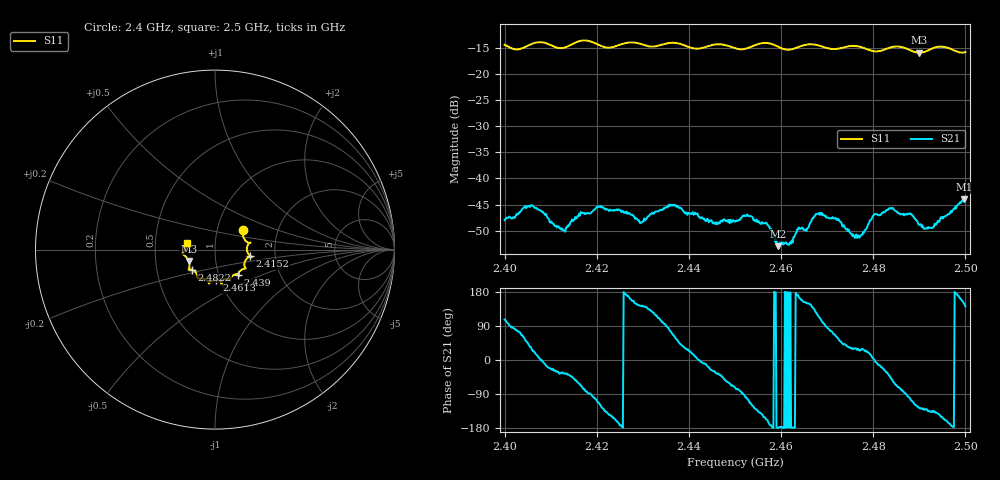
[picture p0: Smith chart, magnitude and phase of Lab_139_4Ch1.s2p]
# Hz S RI R 50
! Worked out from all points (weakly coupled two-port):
!   601 points, 2.4 GHz to 2.5 GHz, reference 50 ohm
!   highest |S21| = -43.98 dB at 2.4997 GHz (marker M1); lowest = -53.0 dB at 2.4593 GHz (marker M2)
!   lowest |S11| = -15.9 dB at 2.49 GHz (marker M3), VSWR 1.38, Z = 36.9 - j4.84 ohm
!   |S11| at or under -10 dB: start of sweep to end of sweep
!   S12 and S22 are empty: the file has one direction only
!   S11 on the Smith chart (normalised r, x): 2.4 GHz: 1.33, +0.31; 2.4152 GHz: 1.48, -0.11; 2.439 GHz: 1.24, -0.36; 2.4613 GHz: 0.96, -0.34; 2.4822 GHz: 0.76, -0.17; 2.5 GHz: 0.72, +0.05
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2.4e9  0.1553 0.1114  -0.00114 0.00381  0 0  0 0
2.405667e9  0.1889 0.0376  0.00451 0.00312  0 0  0 0
2.412667e9  0.1778 -0.00434  0.00265 -0.00188  0 0  0 0
2.415167e9  0.1952 -0.0359  0.00257 -0.0031  0 0  0 0
2.416667e9  0.2049 -0.042  0.00174 -0.00434  0 0  0 0
2.420833e9  0.1807 -0.0473  -0.00276 -0.00471  0 0  0 0
2.429667e9  0.1618 -0.107  -0.00305 0.00228  0 0  0 0
2.433333e9  0.1323 -0.1325  -0.00169 0.00455  0 0  0 0
2.439e9  0.1278 -0.1388  0.00396 0.00258  0 0  0 0
2.45e9  0.0689 -0.1632  0.00117 -0.00366  0 0  0 0
2.456667e9  0.0397 -0.1951  -0.00341 -0.00154  0 0  0 0
2.459333e9  0.0317 -0.1802  -0.00224 -6.4e-06  0 0  0 0
2.461333e9  0.00753 -0.1711  -0.00234 -5.69e-05  0 0  0 0
2.466667e9  -0.0338 -0.1903  -0.0031 0.00255  0 0  0 0
2.472e9  -0.0658 -0.1613  0.00192 0.00355  0 0  0 0
2.4765e9  -0.0948 -0.1591  0.0024 0.00122  0 0  0 0
2.482167e9  -0.1282 -0.1116  0.00431 -0.00183  0 0  0 0
2.483333e9  -0.1395 -0.11  0.00403 -0.0032  0 0  0 0
2.49e9  -0.1466 -0.0639  -0.00211 -0.00289  0 0  0 0
2.492667e9  -0.1721 -0.0305  -0.00238 -0.00235  0 0  0 0
2.499667e9  -0.1587 0.0277  -0.00548 0.00316  0 0  0 0
2.5e9  -0.1586 0.0341  -0.00488 0.00385  0 0  0 0
